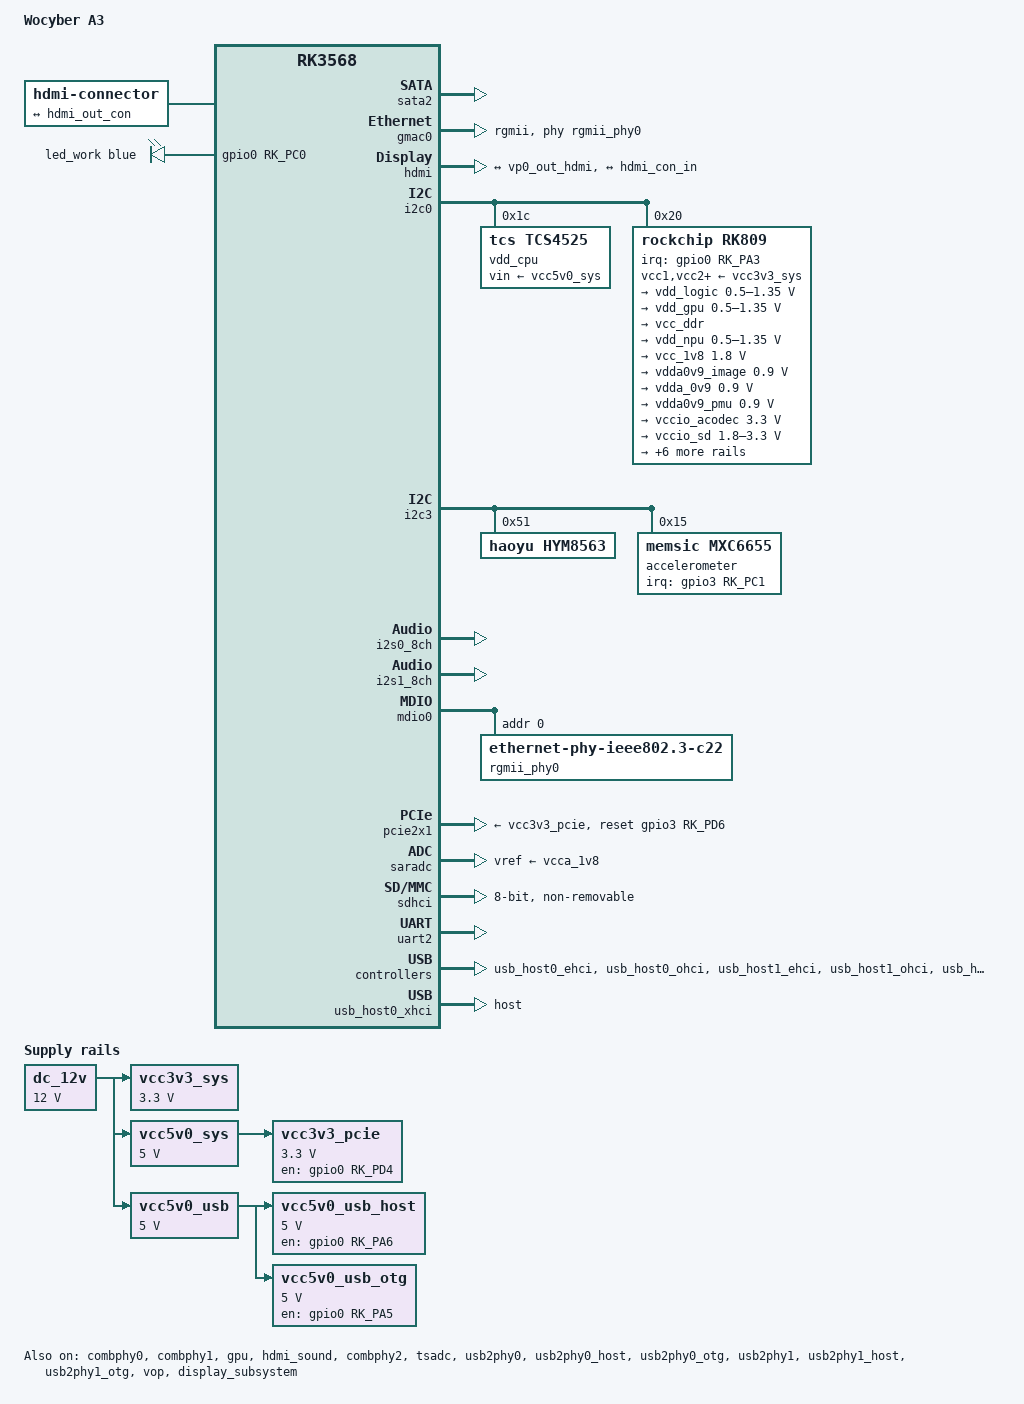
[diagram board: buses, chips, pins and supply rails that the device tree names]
// SPDX-License-Identifier: (GPL-2.0+ OR MIT)
/*
 * Copyright (c) 2021 Rockchip Electronics Co., Ltd.
 *
 */

/dts-v1/;
#include <dt-bindings/gpio/gpio.h>
#include <dt-bindings/leds/common.h>
#include <dt-bindings/pinctrl/rockchip.h>
#include <dt-bindings/soc/rockchip,vop2.h>
#include "rk3568.dtsi"
#include "rk3568-ip.dtsi"
#include "rk3568-ip-rk809.dtsi"
#include "rk3568-ramoops.dtsi"

/ {
	model = "Wocyber A3";
	compatible = "rockchip,wocyber-a3", "rockchip,rk3568";
	hw_support = "hdmi";

	aliases {
		ethernet0 = &gmac0;
		mmc0 = &sdhci;
	};
	
	chosen: chosen {
		stdout-path = "serial2:1500000n8";
	};

	dc_12v: regulator-dc-12v {
		compatible = "regulator-fixed";
		regulator-name = "dc_12v";
		regulator-always-on;
		regulator-boot-on;
		regulator-min-microvolt = <12000000>;
		regulator-max-microvolt = <12000000>;
	};

	hdmi-con {
		compatible = "hdmi-connector";
		type = "a";

		port {
			hdmi_con_in: endpoint {
				remote-endpoint = <&hdmi_out_con>;
			};
		};
	};

	leds {
		compatible = "gpio-leds";

		led_work: led-0 {
			gpios = <&gpio0 RK_PC0 GPIO_ACTIVE_HIGH>;
			function = LED_FUNCTION_HEARTBEAT;
			color = <LED_COLOR_ID_BLUE>;
			linux,default-trigger = "heartbeat";
			pinctrl-names = "default";
			pinctrl-0 = <&led_work_en>;
		};
	};

	rk809-sound {
		compatible = "simple-audio-card";
		simple-audio-card,format = "i2s";
		simple-audio-card,name = "Analog RK809";
		simple-audio-card,mclk-fs = <256>;

		simple-audio-card,cpu {
			sound-dai = <&i2s1_8ch>;
		};
		simple-audio-card,codec {
			sound-dai = <&rk809>;
		};
	};

	vcc3v3_sys: regulator-vcc3v3-sys {
		compatible = "regulator-fixed";
		regulator-name = "vcc3v3_sys";
		regulator-always-on;
		regulator-boot-on;
		regulator-min-microvolt = <3300000>;
		regulator-max-microvolt = <3300000>;
		vin-supply = <&dc_12v>;
	};

	vcc5v0_sys: regulator-vcc5v0-sys {
		compatible = "regulator-fixed";
		regulator-name = "vcc5v0_sys";
		regulator-always-on;
		regulator-boot-on;
		regulator-min-microvolt = <5000000>;
		regulator-max-microvolt = <5000000>;
		vin-supply = <&dc_12v>;
	};

	vcc5v0_usb: regulator-vcc5v0-usb {
		compatible = "regulator-fixed";
		regulator-name = "vcc5v0_usb";
		regulator-always-on;
		regulator-boot-on;
		regulator-min-microvolt = <5000000>;
		regulator-max-microvolt = <5000000>;
		vin-supply = <&dc_12v>;
	};

	vcc5v0_usb_host: regulator-vcc5v0-usb-host {
		compatible = "regulator-fixed";
		enable-active-high;
		gpio = <&gpio0 RK_PA6 GPIO_ACTIVE_HIGH>;
		pinctrl-names = "default";
		pinctrl-0 = <&vcc5v0_usb_host_en>;
		regulator-name = "vcc5v0_usb_host";
		regulator-min-microvolt = <5000000>;
		regulator-max-microvolt = <5000000>;
		vin-supply = <&vcc5v0_usb>;
	};

	vcc5v0_usb_otg: regulator-vcc5v0-usb-otg {
		compatible = "regulator-fixed";
		enable-active-high;
		gpio = <&gpio0 RK_PA5 GPIO_ACTIVE_HIGH>;
		pinctrl-names = "default";
		pinctrl-0 = <&vcc5v0_usb_otg_en>;
		regulator-name = "vcc5v0_usb_otg";
		regulator-min-microvolt = <5000000>;
		regulator-max-microvolt = <5000000>;
		vin-supply = <&vcc5v0_usb>;
	};

	vcc3v3_pcie: vcc3v3-pcie-regulator {
		compatible = "regulator-fixed";
		regulator-always-on;
		regulator-boot-on;
		enable-active-high;
		gpio = <&gpio0 RK_PD4 GPIO_ACTIVE_HIGH>;
		regulator-name = "vcc3v3_pcie";
		regulator-min-microvolt = <3300000>;
		regulator-max-microvolt = <3300000>;
		startup-delay-us = <5000>;
		vin-supply = <&vcc5v0_sys>;
	};
};

&combphy0 {
	status = "okay";
};

&combphy1 {
	status = "okay";
};

&cpu0 {
	cpu-supply = <&vdd_cpu>;
};

&cpu1 {
	cpu-supply = <&vdd_cpu>;
};

&cpu2 {
	cpu-supply = <&vdd_cpu>;
};

&cpu3 {
	cpu-supply = <&vdd_cpu>;
};

&sata2 {
	pinctrl-names = "default";
	pinctrl-0 = <&sata2_pins>;
	assigned-clock-rates = <24000000>;
	status = "okay";
};

&gmac0 {
	assigned-clocks = <&cru SCLK_GMAC0_RX_TX>, <&cru SCLK_GMAC0>;
	assigned-clock-parents = <&cru SCLK_GMAC0_RGMII_SPEED>;
	assigned-clock-rates = <0>, <125000000>;
	clock_in_out = "output";
	phy-handle = <&rgmii_phy0>;
	phy-mode = "rgmii";
	snps,reset-active-low;
	snps,reset-delays-us = <0 20000 100000>;
	snps,reset-gpios = <&gpio3 RK_PB5 GPIO_ACTIVE_LOW>;
	tx_delay = <0x43>;
    	rx_delay = <0x33>;	
	pinctrl-names = "default";
	pinctrl-0 = <&gmac0_miim
		     &gmac0_tx_bus2
		     &gmac0_rx_bus2
		     &gmac0_rgmii_clk
		     &gmac0_rgmii_bus>;
	status = "okay";
};

&gpu {
	mali-supply = <&vdd_gpu>;
	status = "okay";
};

&hdmi {
    hdmi-supply = <&vcc5v0_sys>;
    avdd-0v9-supply = <&vdda0v9_image>;
    avdd-1v8-supply = <&vcca1v8_image>;
    status = "okay";

    ports {
        #address-cells = <1>;
        #size-cells = <0>;

        port@0 {
            reg = <0>;
            hdmi_in_vp0: endpoint {
                remote-endpoint = <&vp0_out_hdmi>;
            };
        };

        port@1 {
            reg = <1>;
            hdmi_out_con: endpoint {
                remote-endpoint = <&hdmi_con_in>;
            };
        };
    };
};

&hdmi_sound {
	status = "okay";
};

&i2c0 {
	status = "okay";

	vdd_cpu: regulator@1c {
		compatible = "tcs,tcs4525";
		reg = <0x1c>;
		fcs,suspend-voltage-selector = <1>;
		regulator-name = "vdd_cpu";
		regulator-always-on;
		regulator-boot-on;
		regulator-min-microvolt = <800000>;
		regulator-max-microvolt = <1150000>;
		regulator-ramp-delay = <2300>;
		vin-supply = <&vcc5v0_sys>;

		regulator-state-mem {
			regulator-off-in-suspend;
		};
	};

	rk809: pmic@20 {
		compatible = "rockchip,rk809";
		reg = <0x20>;
		interrupt-parent = <&gpio0>;
		interrupts = <RK_PA3 IRQ_TYPE_LEVEL_LOW>;
		assigned-clocks = <&cru I2S1_MCLKOUT_TX>;
		assigned-clock-parents = <&cru CLK_I2S1_8CH_TX>;
		#clock-cells = <1>;
		clock-names = "mclk";
		clocks = <&cru I2S1_MCLKOUT_TX>;
		pinctrl-names = "default";
		pinctrl-0 = <&pmic_int>, <&i2s1m0_mclk>;
		system-power-controller;
		#sound-dai-cells = <0>;
		vcc1-supply = <&vcc3v3_sys>;
		vcc2-supply = <&vcc3v3_sys>;
		vcc3-supply = <&vcc3v3_sys>;
		vcc4-supply = <&vcc3v3_sys>;
		vcc5-supply = <&vcc3v3_sys>;
		vcc6-supply = <&vcc3v3_sys>;
		vcc7-supply = <&vcc3v3_sys>;
		vcc8-supply = <&vcc3v3_sys>;
		vcc9-supply = <&vcc3v3_sys>;
		wakeup-source;
		pwrkey {
			status = "okay";
		};

		regulators {
			vdd_logic: DCDC_REG1 {
				regulator-name = "vdd_logic";
				regulator-always-on;
				regulator-boot-on;
				regulator-initial-mode = <0x2>;
				regulator-min-microvolt = <500000>;
				regulator-max-microvolt = <1350000>;
				regulator-init-microvolt = <900000>;
				regulator-ramp-delay = <6001>;
				regulator-state-mem {
					regulator-off-in-suspend;
				};
			};

			vdd_gpu: DCDC_REG2 {
				regulator-name = "vdd_gpu";
				regulator-always-on;
				regulator-boot-on;
				regulator-initial-mode = <0x2>;
				regulator-min-microvolt = <500000>;
				regulator-max-microvolt = <1350000>;
				regulator-init-microvolt = <900000>;
				regulator-ramp-delay = <6001>;
				regulator-state-mem {
					regulator-off-in-suspend;
				};
			};

			vcc_ddr: DCDC_REG3 {
				regulator-name = "vcc_ddr";
				regulator-always-on;
				regulator-boot-on;
				regulator-initial-mode = <0x2>;
				regulator-state-mem {
					regulator-on-in-suspend;
				};
			};

			vdd_npu: DCDC_REG4 {
				regulator-name = "vdd_npu";
				regulator-initial-mode = <0x2>;
				regulator-min-microvolt = <500000>;
				regulator-max-microvolt = <1350000>;
				regulator-ramp-delay = <6001>;
				regulator-state-mem {
					regulator-off-in-suspend;
				};
			};

			vcc_1v8: DCDC_REG5 {
				regulator-name = "vcc_1v8";
				regulator-always-on;
				regulator-boot-on;
				regulator-min-microvolt = <1800000>;
				regulator-max-microvolt = <1800000>;
				regulator-state-mem {
					regulator-off-in-suspend;
				};
			};

			vdda0v9_image: LDO_REG1 {
				regulator-name = "vdda0v9_image";
				regulator-boot-on;
				regulator-always-on;
				regulator-min-microvolt = <900000>;
				regulator-max-microvolt = <900000>;
				regulator-state-mem {
					regulator-off-in-suspend;
				};
			};

			vdda_0v9: LDO_REG2 {
				regulator-name = "vdda_0v9";
				regulator-always-on;
				regulator-boot-on;
				regulator-min-microvolt = <900000>;
				regulator-max-microvolt = <900000>;
				regulator-state-mem {
					regulator-off-in-suspend;
				};
			};

			vdda0v9_pmu: LDO_REG3 {
				regulator-name = "vdda0v9_pmu";
				regulator-always-on;
				regulator-boot-on;
				regulator-min-microvolt = <900000>;
				regulator-max-microvolt = <900000>;
				regulator-state-mem {
					regulator-on-in-suspend;
					regulator-suspend-microvolt = <900000>;
				};
			};

			vccio_acodec: LDO_REG4 {
				regulator-name = "vccio_acodec";
				regulator-always-on;
				regulator-min-microvolt = <3300000>;
				regulator-max-microvolt = <3300000>;
				regulator-state-mem {
					regulator-off-in-suspend;
				};
			};

			vccio_sd: LDO_REG5 {
				regulator-name = "vccio_sd";
				regulator-min-microvolt = <1800000>;
				regulator-max-microvolt = <3300000>;
				regulator-state-mem {
					regulator-off-in-suspend;
				};
			};

			vcc3v3_pmu: LDO_REG6 {
				regulator-name = "vcc3v3_pmu";
				regulator-always-on;
				regulator-boot-on;
				regulator-min-microvolt = <3300000>;
				regulator-max-microvolt = <3300000>;
				regulator-state-mem {
					regulator-on-in-suspend;
					regulator-suspend-microvolt = <3300000>;
				};
			};

			vcca_1v8: LDO_REG7 {
				regulator-name = "vcca_1v8";
				regulator-always-on;
				regulator-boot-on;
				regulator-min-microvolt = <1800000>;
				regulator-max-microvolt = <1800000>;
				regulator-state-mem {
					regulator-off-in-suspend;
				};
			};

			vcca1v8_pmu: LDO_REG8 {
				regulator-name = "vcca1v8_pmu";
				regulator-always-on;
				regulator-boot-on;
				regulator-min-microvolt = <1800000>;
				regulator-max-microvolt = <1800000>;
				regulator-state-mem {
					regulator-on-in-suspend;
					regulator-suspend-microvolt = <1800000>;
				};
			};

			vcca1v8_image: LDO_REG9 {
				regulator-name = "vcca1v8_image";
				regulator-boot-on;
				regulator-always-on;
				regulator-min-microvolt = <1800000>;
				regulator-max-microvolt = <1800000>;
				regulator-state-mem {
					regulator-off-in-suspend;
				};
			};

			vcc_3v3: SWITCH_REG1 {
				regulator-name = "vcc_3v3";
				vin-supply = <&vcc3v3_sys>;
				regulator-always-on;
				regulator-boot-on;
				regulator-state-mem {
					regulator-off-in-suspend;
				};
			};
			vcc3v3_sd: SWITCH_REG2 {
				regulator-name = "vcc3v3_sd";
				vin-supply = <&vcc3v3_sys>;
				regulator-always-on;
				regulator-boot-on;
				regulator-state-mem {
					regulator-off-in-suspend;
				};
			};	
		};

		codec {
			rockchip,mic-in-differential;
		};
	};
};

&i2c1 {
	status = "disabled";
};

&i2c3 {
	status = "okay";
	pinctrl-names = "default";
	pinctrl-0 = <&i2c3m0_xfer>;
	i2c-scl-rising-time-ns = <450>;
	i2c-scl-falling-time-ns = <15>;

	hym8563: rtc@51 {
		compatible = "haoyu,hym8563";
		reg = <0x51>;
		#clock-cells = <0>;
	};

	accelerometer@15 {
		compatible = "memsic,mxc6655";
		reg = <0x15>;
		interrupt-parent = <&gpio3>;
		interrupts = <RK_PC1 IRQ_TYPE_LEVEL_HIGH>;
		pinctrl-names = "default";
		pinctrl-0 = <&gsensor_int_l>;
	};
};

&i2s0_8ch {
	status = "okay";
};

&i2s1_8ch {
	rockchip,trcm-sync-tx-only;
	status = "okay";
};

&mdio0 {
	rgmii_phy0: ethernet-phy@0 {
		compatible = "ethernet-phy-ieee802.3-c22";
		reg = <0x0>;
		clocks = <&cru &i2s1m0_sclktx>;
	};
};

&pcie2x1 {
	reset-gpios = <&gpio3 RK_PD6 GPIO_ACTIVE_HIGH>;
	vpcie3v3-supply = <&vcc3v3_pcie>;
	status = "okay";
};

&pinctrl {

	leds {
		led_work_en: led_work_en {
			rockchip,pins = <0 RK_PC0 RK_FUNC_GPIO &pcfg_pull_none>;
		};
	};

	hdmitx {
		hdmitx_scl: hdmitx-scl {
			rockchip,pins = <4 RK_PB1 1 &pcfg_pull_none>;
		};

		hdmitx_sda: hdmitx-sda {
			rockchip,pins = <4 RK_PB2 1 &pcfg_pull_none>;
		};

		hdmitxm0_cec: hdmitxm0-cec {
			rockchip,pins = <4 RK_PB3 1 &pcfg_pull_none>;
		};
	};

	pmic {
		pmic_int: pmic_int {
			rockchip,pins =
				<0 RK_PA3 RK_FUNC_GPIO &pcfg_pull_up>;
		};
	};

	gsensor {
		gsensor_int_l: gsensor-int-l {
			rockchip,pins = <3 RK_PC1 RK_FUNC_GPIO &pcfg_pull_none>;
		};
	};

	usb {
		vcc5v0_usb_host_en: vcc5v0_usb_host_en {
			rockchip,pins = <0 RK_PA6 RK_FUNC_GPIO &pcfg_pull_none>;
		};
		vcc5v0_usb_otg_en: vcc5v0_usb_otg_en {
			rockchip,pins = <0 RK_PA5 RK_FUNC_GPIO &pcfg_pull_none>;
		};
	};
};

&pmu_io_domains {
	status = "okay";
	pmuio2-supply = <&vcc3v3_sys>; 
	vccio1-supply = <&vccio_acodec>;
	vccio3-supply = <&vcc3v3_sys>; 
	vccio4-supply = <&vcc_1v8>;
	vccio5-supply = <&vcc3v3_sys>; 
	vccio6-supply = <&vcc_1v8>;
	vccio7-supply = <&vcc3v3_sys>;
};

&pmu_grf {
	reboot-mode {
		compatible = "syscon-reboot-mode";
		offset = <0x200>;
		mode-normal = <0x5242c300>;
		mode-loader = <0x5242c301>;
		mode-bootloader = <0x5242c301>;
		mode-recovery = <0x5242c303>;
		mode-panic = <0x5242c307>;
		mode-watchdog = <0x5242c308>;
		mode-fastboot = <0x5242c309>;
		mode-charge = <0x5242c30b>;
		mode-ums = <0x5242c30c>;
	};
};

&pmucru {
	rockchip,pmugrf = <&pmugrf>;
	rockchip,grf = <&grf>;
};

&combphy2 {
	status = "okay";
};

&saradc {
	vref-supply = <&vcca_1v8>;
	status = "okay";
};

&sdhci {
	bus-width = <8>;
	max-frequency = <200000000>;
	non-removable;
	pinctrl-names = "default";
	pinctrl-0 = <&emmc_bus8 &emmc_clk &emmc_cmd &emmc_datastrobe>;
	status = "okay";
};

&tsadc {
	rockchip,hw-tshut-mode = <1>;
	rockchip,hw-tshut-polarity = <0>;
	status = "okay";
};

&uart2 {
	status = "okay";
};

&usb_host0_ehci {
	status = "okay";
};

&usb_host0_ohci {
	status = "okay";
};

&usb_host0_xhci {
	extcon = <&usb2phy0>;
	dr_mode = "host";
	status = "okay";
};

&usb_host1_ehci {
	status = "okay";
};

&usb_host1_ohci {
	status = "okay";
};

&usb_host1_xhci {
	status = "okay";
};

&usb2phy0 {
	status = "okay";
};

&usb2phy0_host {
	phy-supply = <&vcc5v0_usb_host>;
	status = "okay";
};

&usb2phy0_otg {
	phy-supply = <&vcc5v0_usb_otg>;
	status = "okay";
};

&usb2phy1 {
	status = "okay";
};

&usb2phy1_host {
	phy-supply = <&vcc5v0_usb_host>;
	status = "okay";
};

&usb2phy1_otg {
	phy-supply = <&vcc5v0_usb_otg>;
	status = "okay";
};

&vop {
	assigned-clocks = <&cru DCLK_VOP0>, <&cru DCLK_VOP1>;
	assigned-clock-parents = <&pmucru PLL_HPLL>, <&cru PLL_VPLL>;
	status = "okay";
};

&vop_mmu {
	status = "okay";
};

&vp0 {
	vp0_out_hdmi: endpoint@ROCKCHIP_VOP2_EP_HDMI0 {
		reg = <ROCKCHIP_VOP2_EP_HDMI0>;
		remote-endpoint = <&hdmi_in_vp0>;
	};
};

&display_subsystem {
	compatible = "rockchip,display-subsystem";
	ports = <&vop_out>;
	status = "okay";
};

&{/video-codec@fdea0400} {
    status = "disabled";
};

&{/vdpu@fdea0400} {
    status = "okay";
};

&{/rga@fdeb0000} {
    status = "disabled";
};

&{/rk_rga@fdeb0000} {
    status = "okay";
};
